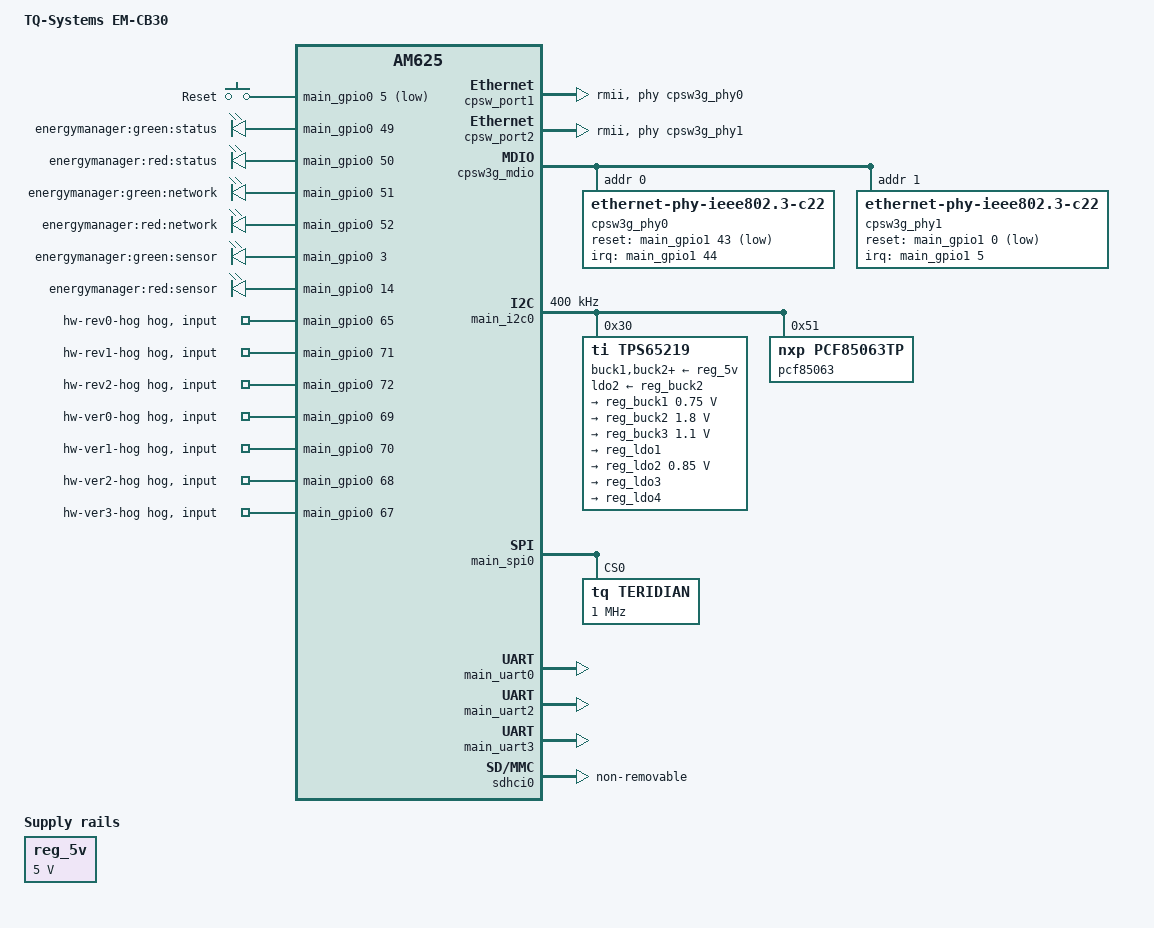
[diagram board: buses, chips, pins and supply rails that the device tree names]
// SPDX-License-Identifier: GPL-2.0-only OR MIT
/*
 * Copyright (C) 2021-2022 Texas Instruments Incorporated - https://www.ti.com/
 * Copyright (c) 2023-2024 TQ-Systems GmbH <linux@ew.tq-group.com>, D-82229 Seefeld, Germany.
 * Author: Matthias Schiffer
 *
 * Device Tree for the TQ-Systems Energy Manager Compute Board 30 (EM-CB30)
 */

/dts-v1/;

#include <dt-bindings/input/input.h>
#include "k3-am625.dtsi"

/ {
	compatible = "tq,am625-em-cb30", "ti,am625";
	model = "TQ-Systems EM-CB30";
	chassis-type = "embedded";

	aliases {
		ethernet0 = &cpsw_port1;
		ethernet1 = &cpsw_port2;
		i2c0 = &main_i2c0;
		mmc0 = &sdhci0;
		rtc0 = &pcf85063;
		serial0 = &main_uart0;
		serial1 = &main_uart3;
		serial2 = &main_uart2;
		spi0 = &main_spi0;
	};

	chosen {
		stdout-path = &main_uart0;
	};

	memory@80000000 {
		/* Filled by bootloader */
		device_type = "memory";
		reg = <0x00000000 0x80000000 0x00000000 0x00000000>;

	};

	reserved-memory {
		#address-cells = <2>;
		#size-cells = <2>;
		ranges;

		ramoops@9c700000 {
			compatible = "ramoops";
			reg = <0x0 0x9c700000 0x0 0x100000>;
			record-size = <0x8000>;
			console-size = <0x8000>;
			ftrace-size = <0x00>;
			pmsg-size = <0x8000>;
		};

		rtos_ipc_memory_region: ipc-memories@9c800000 {
			compatible = "shared-dma-pool";
			reg = <0x0 0x9c800000 0x0 0x300000>;
			no-map;
		};

		wkup_r5fss0_core0_dma_memory_region: r5f-dma-memory@9da00000 {
			compatible = "shared-dma-pool";
			reg = <0x0 0x9da00000 0x0 0x100000>;
			no-map;
		};

		wkup_r5fss0_core0_memory_region: r5f-memory@9db00000 {
			compatible = "shared-dma-pool";
			reg = <0x0 0x9db00000 0x0 0xc00000>;
			no-map;
		};

		secure_tfa_ddr: tfa@9e780000 {
			reg = <0x0 0x9e780000 0x0 0x80000>;
			alignment = <0x1000>;
			no-map;
		};

		secure_ddr: optee@9e800000 {
			reg = <0x0 0x9e800000 0x0 0x1800000>; /* for OP-TEE */
			alignment = <0x1000>;
			no-map;
		};
	};

	buttons {
		compatible = "gpio-keys";
		pinctrl-names = "default";
		pinctrl-0 = <&button_pins>;

		button-reset {
			gpios = <&main_gpio0 5 GPIO_ACTIVE_LOW>;
			label = "Reset";
			linux,code = <KEY_RESTART>;
		};
	};

	leds {
		compatible = "gpio-leds";
		pinctrl-names = "default";
		pinctrl-0 = <&led_pins>;

		led-status-green {
			gpios = <&main_gpio0 49 GPIO_ACTIVE_HIGH>;
			label = "energymanager:green:status";
			linux,default-trigger = "timer";
		};

		led-status-red {
			gpios = <&main_gpio0 50 GPIO_ACTIVE_HIGH>;
			label = "energymanager:red:status";
		};

		led-network-green {
			gpios = <&main_gpio0 51 GPIO_ACTIVE_HIGH>;
			label = "energymanager:green:network";
		};

		led-network-red {
			gpios = <&main_gpio0 52 GPIO_ACTIVE_HIGH>;
			label = "energymanager:red:network";
		};

		led-sensor-green {
			gpios = <&main_gpio0 3 GPIO_ACTIVE_HIGH>;
			label = "energymanager:green:sensor";
		};

		led-sensor-red {
			gpios = <&main_gpio0 14 GPIO_ACTIVE_HIGH>;
			label = "energymanager:red:sensor";
		};
	};

	reg_5v: regulator-5v {
		compatible = "regulator-fixed";
		regulator-name = "V_5V";
		regulator-min-microvolt = <5000000>;
		regulator-max-microvolt = <5000000>;
		regulator-always-on;
		regulator-boot-on;
	};
};

&cpsw3g {
	pinctrl-names = "default";
	pinctrl-0 = <&main_rmii1_pins
		     &main_rmii2_pins>;
};

&cpsw_port1 {
	phy-mode = "rmii";
	phy-handle = <&cpsw3g_phy0>;
};

&cpsw_port2 {
	phy-mode = "rmii";
	phy-handle = <&cpsw3g_phy1>;
};

&cpsw3g_mdio {
	pinctrl-names = "default";
	/*
	 * Configure PHY pins here instead of in PHY nodes - PHY detection does
	 * not work on Linux if reset pin is not already muxed
	 */
	pinctrl-0 = <&main_mdio1_pins>,
		    <&main_mdio1_phy0_pins>,
		    <&main_mdio1_phy1_pins>;
	status = "okay";

	cpsw3g_phy0: ethernet-phy@0 {
		compatible = "ethernet-phy-ieee802.3-c22";
		reg = <0x0>;
		interrupts-extended = <&main_gpio1 44 IRQ_TYPE_EDGE_FALLING>;
		reset-gpios = <&main_gpio1 43 GPIO_ACTIVE_LOW>;
		reset-assert-us = <50>;
		reset-deassert-us = <2000>;
	};

	cpsw3g_phy1: ethernet-phy@1 {
		compatible = "ethernet-phy-ieee802.3-c22";
		reg = <0x1>;
		interrupts-extended = <&main_gpio1 5 IRQ_TYPE_EDGE_FALLING>;
		reset-gpios = <&main_gpio1 0 GPIO_ACTIVE_LOW>;
		reset-assert-us = <50>;
		reset-deassert-us = <2000>;
	};
};

&main_gpio0 {
	pinctrl-names = "default";
	pinctrl-0 = <&main_gpio0_pins>, <&hwid_pins>;

	gpio-line-names =
		"", "", "", "", /* 00-03 */
		"", "", "", "", /* 04-07 */
		"", "", "", "", /* 08-11 */
		"", "", "", "", /* 12-15 */
		"", "", "", "", /* 16-19 */
		"", "", "", "", /* 20-23 */
		"", "", "", "", /* 24-27 */
		"", "", "", "", /* 28-31 */
		"", "", "energymanager:vbus:fault#", "", /* 32-35 */
		"", "", "energymanager:mb:enable#", "energymanager:vbus:enable"; /* 36-39 */

	/* Hardware identification pins */
	hw-rev0-hog {
		gpio-hog;
		input;
		gpios = <65 GPIO_ACTIVE_HIGH>;
	};

	hw-rev1-hog {
		gpio-hog;
		input;
		gpios = <71 GPIO_ACTIVE_HIGH>;
	};

	hw-rev2-hog {
		gpio-hog;
		input;
		gpios = <72 GPIO_ACTIVE_HIGH>;
	};

	hw-ver0-hog {
		gpio-hog;
		input;
		gpios = <69 GPIO_ACTIVE_HIGH>;
	};

	hw-ver1-hog {
		gpio-hog;
		input;
		gpios = <70 GPIO_ACTIVE_HIGH>;
	};

	hw-ver2-hog {
		gpio-hog;
		input;
		gpios = <68 GPIO_ACTIVE_HIGH>;
	};

	hw-ver3-hog {
		gpio-hog;
		input;
		gpios = <67 GPIO_ACTIVE_HIGH>;
	};
};

&main_i2c0 {
	pinctrl-names = "default";
	pinctrl-0 = <&main_i2c0_pins>;
	clock-frequency = <400000>;
	status = "okay";

	tps65219: pmic@30 {
		compatible = "ti,tps65219";
		reg = <0x30>;
		pinctrl-names = "default";
		pinctrl-0 = <&pmic_irq_pins>;
		interrupt-parent = <&gic500>;
		interrupts = <GIC_SPI 224 IRQ_TYPE_LEVEL_HIGH>;
		interrupt-controller;
		#interrupt-cells = <1>;
		buck1-supply = <&reg_5v>;
		buck2-supply = <&reg_5v>;
		buck3-supply = <&reg_5v>;
		ldo1-supply = <&reg_5v>;
		ldo2-supply = <&reg_buck2>;
		ldo3-supply = <&reg_5v>;
		ldo4-supply = <&reg_5v>;
		system-power-controller;

		regulators {
			reg_buck1: buck1 {
				regulator-name = "V_VDD_CORE";
				regulator-min-microvolt = <750000>;
				regulator-max-microvolt = <750000>;
				regulator-boot-on;
				regulator-always-on;
			};

			reg_buck2: buck2 {
				regulator-name = "V_1V8";
				regulator-min-microvolt = <1800000>;
				regulator-max-microvolt = <1800000>;
				regulator-boot-on;
				regulator-always-on;
			};

			reg_buck3: buck3 {
				regulator-name = "V_1V1";
				regulator-min-microvolt = <1100000>;
				regulator-max-microvolt = <1100000>;
				regulator-boot-on;
				regulator-always-on;
			};

			reg_ldo1: ldo1 {
				/* Unused */
				regulator-name = "V_VLDO1";
				regulator-boot-on;
			};

			reg_ldo2: ldo2 {
				regulator-name = "V_0V85";
				regulator-min-microvolt = <850000>;
				regulator-max-microvolt = <850000>;
				regulator-boot-on;
				regulator-always-on;
			};

			reg_ldo3: ldo3 {
				/* Unused */
				regulator-name = "V_VLDO3";
				regulator-boot-on;
			};

			reg_ldo4: ldo4 {
				/* Unused */
				regulator-name = "V_VLDO4";
				regulator-boot-on;
			};
		};
	};

	pcf85063: rtc@51 {
		compatible = "nxp,pcf85063tp";
		reg = <0x51>;
		quartz-load-femtofarads = <12500>;
	};
};

&main_spi0 {
	pinctrl-names = "default";
	pinctrl-0 = <&main_spi0_pins>;
	ti,pindir-d0-out-d1-in;
	status = "okay";

	teridian@0 {
		compatible = "tq,teridian";
		reg = <0>;
		spi-max-frequency = <1000000>;
	};
};

/* Main console */
&main_uart0 {
	pinctrl-names = "default";
	pinctrl-0 = <&main_uart0_pins>;
	status = "okay";
};

/* RS485 1 (B) */
&main_uart2 {
	pinctrl-names = "default";
	pinctrl-0 = <&main_uart2_pins>;
	rs485-rts-active-low;
	rs485-term-gpios = <&main_gpio0 57 GPIO_ACTIVE_HIGH>;
	linux,rs485-enabled-at-boot-time;
	status = "okay";
};

/* RS485 2 (A) */
&main_uart3 {
	pinctrl-names = "default";
	pinctrl-0 = <&main_uart3_pins>;
	rs485-rts-active-low;
	rs485-term-gpios = <&main_gpio0 58 GPIO_ACTIVE_HIGH>;
	linux,rs485-enabled-at-boot-time;
	status = "okay";
};

&sdhci0 {
	pinctrl-names = "default";
	pinctrl-0 = <&main_mmc0_pins>;
	ti,driver-strength-ohm = <50>;
	non-removable;
	disable-wp;
	no-sd;
	no-sdio;
	status = "okay";
};

&main_pmx0 {
	button_pins: button-pins {
		pinctrl-single,pins = <
			/* (F25) OSPI0_D2.GPIO0_5 - FACTORY_DFLT# */
			AM62X_IOPAD(0x014, PIN_INPUT, 7)
		>;
	};

	hwid_pins: hwid-pins {
		pinctrl-single,pins = <
			/* (D24) MMC2_DAT3.GPIO0_65 - HW.REV0 */
			AM62X_IOPAD(0x108, PIN_INPUT, 7)
			/* (C25) MMC2_DAT1.GPIO0_67 - HW.VER3 */
			AM62X_IOPAD(0x110, PIN_INPUT, 7)
			/* (B24) MMC2_DAT0.GPIO0_68 - HW.VER2 */
			AM62X_IOPAD(0x114, PIN_INPUT, 7)
			/* (D25) MMC2_CLK.GPIO0_69 - HW.VER0 */
			AM62X_IOPAD(0x118, PIN_INPUT, 7)
			/* (C23) MMC2_CMD.GPIO0_70 - HW.VER1 */
			AM62X_IOPAD(0x120, PIN_INPUT, 7)
			/* (A23) MMC2_SDCD.GPIO0_71 - HW.REV1 */
			AM62X_IOPAD(0x124, PIN_INPUT, 7)
			/* (B23) MMC2_SDWP.GPIO0_72 - HW.REV2 */
			AM62X_IOPAD(0x128, PIN_INPUT, 7)
		>;
	};

	led_pins: led-pins {
		pinctrl-single,pins = <
			/* (E25) OSPI0_D0.GPIO0_3 */
			AM62X_IOPAD(0x00c, PIN_OUTPUT, 7)
			/* (E24) OSPI0_CSn3.GPIO0_14 */
			AM62X_IOPAD(0x038, PIN_OUTPUT, 7)
			/* (Y25) VOUT0_DATA4.GPIO0_49 */
			AM62X_IOPAD(0x0c8, PIN_OUTPUT, 7)
			/* (Y24) VOUT0_DATA5.GPIO0_50 */
			AM62X_IOPAD(0x0cc, PIN_OUTPUT, 7)
			/* (Y23) VOUT0_DATA6.GPIO0_51 */
			AM62X_IOPAD(0x0d0, PIN_OUTPUT, 7)
			/* (AA25) VOUT0_DATA7.GPIO0_52 */
			AM62X_IOPAD(0x0d4, PIN_OUTPUT, 7)
		>;
	};

	main_gpio0_pins: main-gpio0-pins {
		pinctrl-single,pins = <
			/* (L25) GPMC0_WEn.GPIO0_34 - V_5_RS485_FAULT# */
			AM62X_IOPAD(0x08c, PIN_OUTPUT, 7)
			/* (V25) GPMC0_WAIT1.GPIO0_38 - MB_PWR_EN# */
			AM62X_IOPAD(0x09c, PIN_OUTPUT, 7)
			/* (K25) GPMC0_WPn.GPIO0_39 - V_5_RS485_EN */
			AM62X_IOPAD(0x0a0, PIN_OUTPUT, 7)
		>;
	};

	main_i2c0_pins: main-i2c0-pins {
		pinctrl-single,pins = <
			AM62X_IOPAD(0x1e0, PIN_INPUT, 0) /* (B16) I2C0_SCL */
			AM62X_IOPAD(0x1e4, PIN_INPUT, 0) /* (A16) I2C0_SDA */
		>;
	};

	main_mdio1_pins: main-mdio1-pins {
		pinctrl-single,pins = <
			AM62X_IOPAD(0x160, PIN_OUTPUT, 0) /* (AD24) MDIO0_MDC */
			AM62X_IOPAD(0x15c, PIN_INPUT, 0) /* (AB22) MDIO0_MDIO */
		>;
	};

	main_mdio1_phy0_pins: main-mdio1-phy0-pins {
		pinctrl-single,pins = <
			/* (C21) MMC1_DAT2.GPIO1_43 - ENET1.RST# */
			AM62X_IOPAD(0x228, PIN_OUTPUT, 7)
			/* (B21) MMC1_DAT1.GPIO1_44 - ENET1.INT# */
			AM62X_IOPAD(0x22c, PIN_INPUT, 7)
		>;
	};

	main_mdio1_phy1_pins: main-mdio1-phy1-pins {
		pinctrl-single,pins = <
			/* (AC20) RGMII2_TD3.GPIO1_0 - ENET2.RST# */
			AM62X_IOPAD(0x178, PIN_OUTPUT, 7)
			/* (AC21) RGMII2_RD2.GPIO1_5 - ENET2.INT# */
			AM62X_IOPAD(0x18c, PIN_INPUT, 7)
		>;
	};

	main_mmc0_pins: main-mmc0-pins {
		pinctrl-single,pins = <
			AM62X_IOPAD(0x220, PIN_INPUT, 0) /* (Y3) MMC0_CMD */
			AM62X_IOPAD(0x218, PIN_INPUT, 0) /* (AB1) MMC0_CLK */
			AM62X_IOPAD(0x214, PIN_INPUT, 0) /* (AA2) MMC0_DAT0 */
			AM62X_IOPAD(0x210, PIN_INPUT, 0) /* (AA1) MMC0_DAT1 */
			AM62X_IOPAD(0x20c, PIN_INPUT, 0) /* (AA3) MMC0_DAT2 */
			AM62X_IOPAD(0x208, PIN_INPUT, 0) /* (Y4) MMC0_DAT3 */
			AM62X_IOPAD(0x204, PIN_INPUT, 0) /* (AB2) MMC0_DAT4 */
			AM62X_IOPAD(0x200, PIN_INPUT, 0) /* (AC1) MMC0_DAT5 */
			AM62X_IOPAD(0x1fc, PIN_INPUT, 0) /* (AD2) MMC0_DAT6 */
			AM62X_IOPAD(0x1f8, PIN_INPUT, 0) /* (AC2) MMC0_DAT7 */
		>;
	};

	main_rmii1_pins: main-rmii1-pins {
		pinctrl-single,pins = <
			AM62X_IOPAD(0x14c, PIN_INPUT, 1) /* (AB17) RGMII1_RD0.RMII1_RXD0 */
			AM62X_IOPAD(0x150, PIN_INPUT, 1) /* (AC17) RGMII1_RD1.RMII1_RXD1 */
			AM62X_IOPAD(0x148, PIN_INPUT, 1) /* (AD17) RGMII1_RXC.RMII1_REF_CLK */
			AM62X_IOPAD(0x134, PIN_OUTPUT, 1) /* (AE20) RGMII1_TD0.RMII1_TXD0 */
			AM62X_IOPAD(0x138, PIN_OUTPUT, 1) /* (AD20) RGMII1_TD1.RMII1_TXD1 */
			AM62X_IOPAD(0x130, PIN_INPUT, 1) /* (AE19) RGMII1_TXC.RMII1_CRS_DV */
			AM62X_IOPAD(0x12c, PIN_OUTPUT, 1) /* (AD19) RGMII1_TX_CTL.RMII1_TX_EN */
		>;
	};

	main_rmii2_pins: main-rmii2-pins {
		pinctrl-single,pins = <
			AM62X_IOPAD(0x184, PIN_INPUT, 1) /* (AE23) RGMII2_RD0.RMII2_RXD0 */
			AM62X_IOPAD(0x188, PIN_INPUT, 1) /* (AB20) RGMII2_RD1.DMII2_RXD1 */
			AM62X_IOPAD(0x180, PIN_INPUT, 1) /* (AD23) RGMII2_RXC.RMII2_REF_CLK */
			AM62X_IOPAD(0x16c, PIN_OUTPUT, 1) /* (Y18) RGMII2_TD0.RMII2_TXD0 */
			AM62X_IOPAD(0x170, PIN_OUTPUT, 1) /* (AA18) RGMII2_TD1.RMII2_TXD1 */
			AM62X_IOPAD(0x168, PIN_INPUT, 1) /* (AE21) RGMII2_TXC.RMII2_CRS_DV */
			AM62X_IOPAD(0x164, PIN_OUTPUT, 1) /* (AA19) RGMII2_TX_CTL.RMII2_TX_EN */
		>;
	};

	main_spi0_pins: main-spi0-pins {
		pinctrl-single,pins = <
			AM62X_IOPAD(0x1bc, PIN_OUTPUT, 0) /* (A14) SPI0_CLK */
			AM62X_IOPAD(0x1b4, PIN_OUTPUT, 0) /* (A13) SPI0_CS0 */
			AM62X_IOPAD(0x1c0, PIN_OUTPUT, 0) /* (B13) SPI0_D0 */
			AM62X_IOPAD(0x1c4, PIN_INPUT, 0) /* (B14) SPI0_D1 */
		>;
	};

	main_uart0_pins: main-uart0-pins {
		pinctrl-single,pins = <
			AM62X_IOPAD(0x1c8, PIN_INPUT, 0) /* (D14) UART0_RXD */
			AM62X_IOPAD(0x1cc, PIN_OUTPUT, 0) /* (E14) UART0_TXD */
		>;
	};

	main_uart2_pins: main-uart2-pins {
		pinctrl-single,pins = <
			/* (AB25) VOUT0_DATA12.GPIO0_57 - RS485-1_TERM */
			AM62X_IOPAD(0x0e8, PIN_OUTPUT, 7)
			AM62X_IOPAD(0x1d0, PIN_INPUT, 3) /* (A15) UART0_CTSn.UART2_RXD */
			AM62X_IOPAD(0x1d4, PIN_OUTPUT, 3) /* (B15) UART0_RTSn.UART2_TXD */
			AM62X_IOPAD(0x100, PIN_OUTPUT, 4) /* (AC25) VOUT0_VSYNC.UART2_RTSn */
		>;
	};

	main_uart3_pins: main-uart3-pins {
		pinctrl-single,pins = <
			/* (AA24) VOUT0_DATA13.GPIO0_58 - RS485-2_TERM */
			AM62X_IOPAD(0x0ec, PIN_OUTPUT, 7)
			AM62X_IOPAD(0x0c0, PIN_INPUT, 4) /* (W25) VOUT0_DATA2.UART3_RXD */
			AM62X_IOPAD(0x0c4, PIN_OUTPUT, 4) /* (W24) VOUT0_DATA3.UART3_TXD */
			AM62X_IOPAD(0x240, PIN_OUTPUT, 3) /* (D17) MMC1_SDCD.UART3_RTSn */
		>;
	};

	pmic_irq_pins: pmic-irq-pins {
		pinctrl-single,pins = <
			AM62X_IOPAD(0x01f4, PIN_INPUT_PULLUP, 0) /* (D16) EXTINTn */
		>;
	};
};
